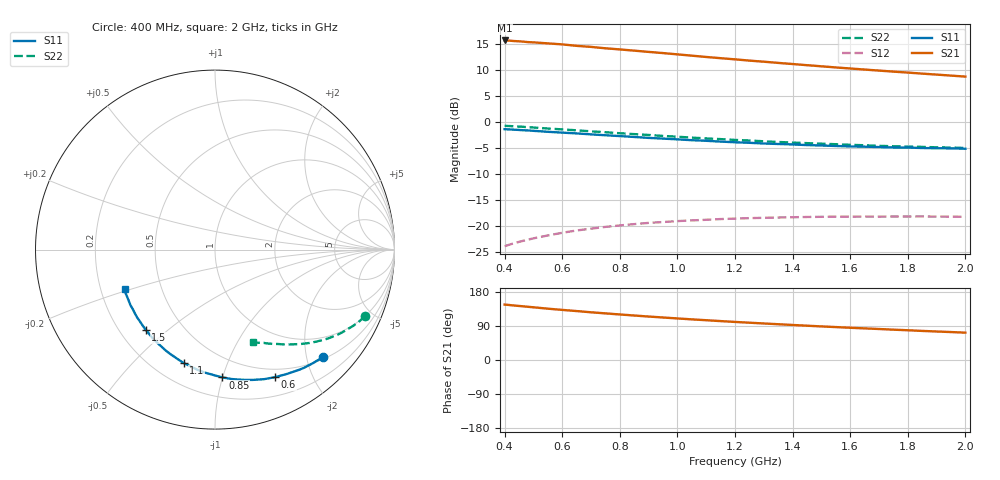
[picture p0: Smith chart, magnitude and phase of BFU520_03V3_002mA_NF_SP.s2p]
! Filename:  P:\Prog\Test\Noise\ATS_data\Testdata_Net\06 Compressed Noise after Statistics\BFU520_APG2013_37_A05_03p3V_002mA_NF_CM01_D.sf
! Date/Time: Fri 26/Apr/2013 14:13:13
! BFU520_APG2013_37_A05_03p3V_1to20mA_NF_CM01_Bias2_R.sf
! Noise Parameter Data File
! BFU520_APG2013_37_A05_03p3V_1to20mA_NF_CM01
! Date/time: Tue Apr 23 15:18:41 2013
! VAR V_out= 3.300000
! VAR I_out= 2.005000
! VAR V_in= 0.808700
! VAR I_in= 0.022605
! Device data file deembeded for feedlines and parallel
! Original file: \06 Compressed Noise after Statistics\BFU520_APG2013_37_A05_03p3V_002mA_NF_CM01_R.sf
! Feed-files: PR047V01_250413_Feed1.s2p, PR047V01_250413_Feed2.s2p
! Parallel-file: PR047V01_250413_Par.s2p
# MHz S MA R 50
!  Freq-MHz  S11-mag  S11-arg  S21-mag  S21-arg  S12-mag  S12-arg  S22-mag  S22-arg
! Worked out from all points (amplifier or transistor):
!   37 points, 400 MHz to 2 GHz, reference 50 ohm
!   highest |S21| = 15.6 dB at 400 MHz (marker M1)
!   |S21| within 3 dB of that: start of sweep to 1.064 GHz
!   unconditionally stable (mu >= 1): nowhere
!   at 500 MHz: K = 0.17, MSG = 18.9 dB, |S12| = -22.4 dB
!   at 1.1 GHz: K = 0.36, MSG = 15.7 dB, |S12| = -18.9 dB
!   at 2 GHz: K = 0.67, MSG = 13.5 dB, |S12| = -18.3 dB
!   lowest NFmin = 0.53 dB at 420 MHz
!   S11 on the Smith chart (normalised r, x): 400 MHz: 0.55, -2.32; 600 MHz: 0.40, -1.50; 850 MHz: 0.34, -1.00; 1.1 GHz: 0.32, -0.71; 1.5 GHz: 0.31, -0.42; 2 GHz: 0.30, -0.19
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400  0.848 -44.8  6.056 146.3  0.06344 63.3  0.9142 -23.9
440  0.8364 -48.9  5.964 143.3  0.06854 61.0  0.9012 -25.9
460  0.8298 -51.0  5.915 141.9  0.07098 59.8  0.8953 -26.9
480  0.8247 -52.9  5.841 140.5  0.07317 58.7  0.8865 -27.9
500  0.8174 -55.0  5.805 139.1  0.07543 57.7  0.8797 -28.8
550  0.8001 -60.1  5.677 135.5  0.0804 55.0  0.8604 -31.2
600  0.7855 -64.8  5.552 132.2  0.08533 52.6  0.8436 -33.3
650  0.7719 -69.2  5.374 129.2  0.08982 50.3  0.8266 -35.4
700  0.7556 -74.0  5.252 125.9  0.09351 48.1  0.8085 -37.3
750  0.7412 -78.2  5.09 123.0  0.09724 46.1  0.7924 -39.1
800  0.7277 -82.5  4.966 120.2  0.1004 44.2  0.775 -40.9
850  0.7134 -86.7  4.83 117.4  0.1034 42.3  0.76 -42.5
950  0.6879 -94.6  4.578 112.2  0.1083 38.9  0.7298 -45.7
1050  0.6642 -102.0  4.323 107.2  0.1123 35.9  0.703 -48.5
1100  0.6552 -105.5  4.2 105.0  0.1139 34.6  0.6909 -49.7
1200  0.6344 -112.5  3.985 100.5  0.1168 31.9  0.6684 -52.3
1350  0.6105 -121.9  3.683 94.4  0.1197 28.7  0.6384 -55.6
1500  0.5906 -130.9  3.415 88.6  0.1216 25.9  0.6149 -58.7
1600  0.5783 -136.6  3.254 85.0  0.1221 24.2  0.5997 -60.7
1750  0.5652 -144.4  3.036 80.0  0.1224 22.3  0.5809 -63.4
1850  0.5587 -149.4  2.905 76.8  0.1226 21.2  0.5725 -65.1
2000  0.5496 -156.2  2.719 72.2  0.1215 19.9  0.5588 -67.8
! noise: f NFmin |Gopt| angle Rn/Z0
400  0.6023  0.4726  18.19  0.2246
460  0.5961  0.4525  23.89  0.1967
600  0.6144  0.4738  28.98  0.2071
800  0.6717  0.4454  40.9  0.1893
1000  0.6894  0.4642  52.44  0.1794
1200  0.7331  0.4516  63.67  0.1744
1400  0.7502  0.4488  76  0.1501
1600  0.7549  0.4199  86.6  0.1337
1800  0.5831  0.4421  101.3  0.0987
2000  0.9117  0.4352  108.9  0.1155
